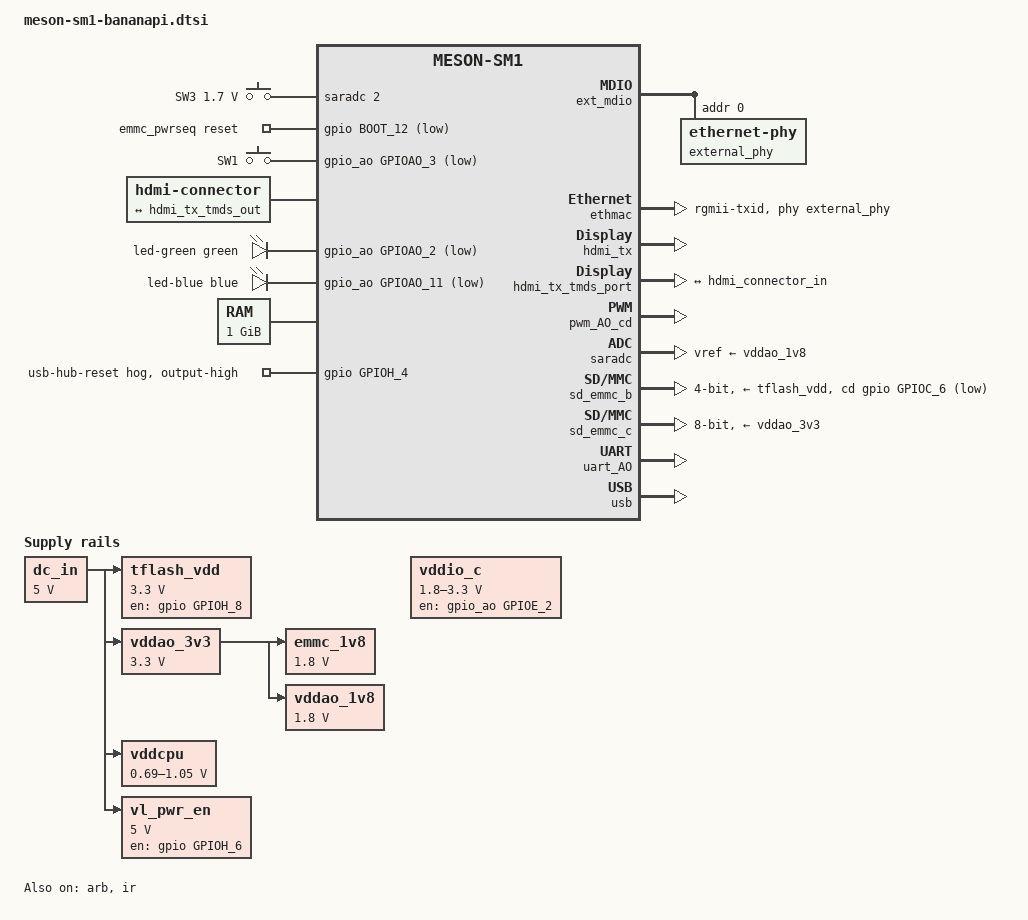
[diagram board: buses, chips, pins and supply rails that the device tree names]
// SPDX-License-Identifier: (GPL-2.0+ OR MIT)
/*
 * Copyright (c) 2021 BayLibre SAS
 * Author: Neil Armstrong <narmstrong@baylibre.com>
 */

#include "meson-sm1.dtsi"
#include <dt-bindings/leds/common.h>
#include <dt-bindings/input/linux-event-codes.h>
#include <dt-bindings/gpio/meson-g12a-gpio.h>

/ {
	adc-keys {
		compatible = "adc-keys";
		io-channels = <&saradc 2>;
		io-channel-names = "buttons";
		keyup-threshold-microvolt = <1800000>;

		button-sw3 {
			label = "SW3";
			linux,code = <BTN_3>;
			press-threshold-microvolt = <1700000>;
		};
	};

	aliases {
		serial0 = &uart_AO;
		ethernet0 = &ethmac;
	};

	chosen {
		stdout-path = "serial0:115200n8";
	};

	emmc_pwrseq: emmc-pwrseq {
		compatible = "mmc-pwrseq-emmc";
		reset-gpios = <&gpio BOOT_12 GPIO_ACTIVE_LOW>;
	};

	gpio-keys {
		compatible = "gpio-keys";

		key {
			label = "SW1";
			linux,code = <BTN_1>;
			gpios = <&gpio_ao GPIOAO_3 GPIO_ACTIVE_LOW>;
			interrupt-parent = <&gpio_intc>;
			interrupts = <3 IRQ_TYPE_EDGE_BOTH>;
		};
	};

	hdmi-connector {
		compatible = "hdmi-connector";
		type = "a";

		port {
			hdmi_connector_in: endpoint {
				remote-endpoint = <&hdmi_tx_tmds_out>;
			};
		};
	};

	leds {
		compatible = "gpio-leds";

		led-green {
			color = <LED_COLOR_ID_GREEN>;
			function = LED_FUNCTION_STATUS;
			gpios = <&gpio_ao GPIOAO_2 GPIO_ACTIVE_LOW>;
		};

		led-blue {
			color = <LED_COLOR_ID_BLUE>;
			function = LED_FUNCTION_STATUS;
			gpios = <&gpio_ao GPIOAO_11 GPIO_ACTIVE_LOW>;
			linux,default-trigger = "heartbeat";
		};
	};

	memory@0 {
		device_type = "memory";
		reg = <0x0 0x0 0x0 0x40000000>;
	};

	emmc_1v8: regulator-emmc_1v8 {
		compatible = "regulator-fixed";
		regulator-name = "EMMC_1V8";
		regulator-min-microvolt = <1800000>;
		regulator-max-microvolt = <1800000>;
		vin-supply = <&vddao_3v3>;
		regulator-always-on;
	};

	dc_in: regulator-dc_in {
		compatible = "regulator-fixed";
		regulator-name = "DC_IN";
		regulator-min-microvolt = <5000000>;
		regulator-max-microvolt = <5000000>;
		regulator-always-on;
	};

	vddio_c: regulator-vddio_c {
		compatible = "regulator-gpio";
		regulator-name = "VDDIO_C";
		regulator-min-microvolt = <1800000>;
		regulator-max-microvolt = <3300000>;

		enable-gpio = <&gpio_ao GPIOE_2 GPIO_OPEN_DRAIN>;
		enable-active-high;
		regulator-always-on;

		gpios = <&gpio_ao GPIOAO_6 GPIO_OPEN_DRAIN>;
		gpios-states = <1>;

		states = <1800000 0>,
			 <3300000 1>;
	};

	tflash_vdd: regulator-tflash_vdd {
		compatible = "regulator-fixed";
		regulator-name = "TFLASH_VDD";
		regulator-min-microvolt = <3300000>;
		regulator-max-microvolt = <3300000>;
		vin-supply = <&dc_in>;
		gpio = <&gpio GPIOH_8 GPIO_OPEN_DRAIN>;
		enable-active-high;
		regulator-always-on;
	};

	vddao_1v8: regulator-vddao_1v8 {
		compatible = "regulator-fixed";
		regulator-name = "VDDAO_1V8";
		regulator-min-microvolt = <1800000>;
		regulator-max-microvolt = <1800000>;
		vin-supply = <&vddao_3v3>;
		regulator-always-on;
	};

	vddao_3v3: regulator-vddao_3v3 {
		compatible = "regulator-fixed";
		regulator-name = "VDDAO_3V3";
		regulator-min-microvolt = <3300000>;
		regulator-max-microvolt = <3300000>;
		vin-supply = <&dc_in>;
		regulator-always-on;
	};

	vddcpu: regulator-vddcpu {
		/*
		 * SY8120B1ABC DC/DC Regulator.
		 */
		compatible = "pwm-regulator";

		regulator-name = "VDDCPU";
		regulator-min-microvolt = <690000>;
		regulator-max-microvolt = <1050000>;

		pwm-supply = <&dc_in>;

		pwms = <&pwm_AO_cd 1 1250 0>;
		pwm-dutycycle-range = <100 0>;

		regulator-boot-on;
		regulator-always-on;
	};

	/* USB Hub Power Enable */
	vl_pwr_en: regulator-vl_pwr_en {
		compatible = "regulator-fixed";
		regulator-name = "VL_PWR_EN";
		regulator-min-microvolt = <5000000>;
		regulator-max-microvolt = <5000000>;
		vin-supply = <&dc_in>;

		gpio = <&gpio GPIOH_6 GPIO_ACTIVE_HIGH>;
		enable-active-high;
	};
};

&arb {
	status = "okay";
};

&cpu0 {
	cpu-supply = <&vddcpu>;
	operating-points-v2 = <&cpu_opp_table>;
	clocks = <&clkc CLKID_CPU_CLK>;
	clock-latency = <50000>;
};

&cpu1 {
	cpu-supply = <&vddcpu>;
	operating-points-v2 = <&cpu_opp_table>;
	clocks = <&clkc CLKID_CPU1_CLK>;
	clock-latency = <50000>;
};

&cpu2 {
	cpu-supply = <&vddcpu>;
	operating-points-v2 = <&cpu_opp_table>;
	clocks = <&clkc CLKID_CPU2_CLK>;
	clock-latency = <50000>;
};

&cpu3 {
	cpu-supply = <&vddcpu>;
	operating-points-v2 = <&cpu_opp_table>;
	clocks = <&clkc CLKID_CPU3_CLK>;
	clock-latency = <50000>;
};

&ext_mdio {
	external_phy: ethernet-phy@0 {
		/* Realtek RTL8211F (0x001cc916) */
		reg = <0>;
		max-speed = <1000>;

		interrupt-parent = <&gpio_intc>;
		/* MAC_INTR on GPIOZ_14 */
		interrupts = <26 IRQ_TYPE_LEVEL_LOW>;
	};
};

&ethmac {
	pinctrl-0 = <&eth_pins>, <&eth_rgmii_pins>;
	pinctrl-names = "default";
	status = "okay";
	phy-mode = "rgmii-txid";
	phy-handle = <&external_phy>;
};

&gpio {
	gpio-line-names =
		/* GPIOZ */
		"ETH_MDIO", /* GPIOZ_0 */
		"ETH_MDC", /* GPIOZ_1 */
		"ETH_RXCLK", /* GPIOZ_2 */
		"ETH_RX_DV", /* GPIOZ_3 */
		"ETH_RXD0", /* GPIOZ_4 */
		"ETH_RXD1", /* GPIOZ_5 */
		"ETH_RXD2", /* GPIOZ_6 */
		"ETH_RXD3", /* GPIOZ_7 */
		"ETH_TXCLK", /* GPIOZ_8 */
		"ETH_TXEN", /* GPIOZ_9 */
		"ETH_TXD0", /* GPIOZ_10 */
		"ETH_TXD1", /* GPIOZ_11 */
		"ETH_TXD2", /* GPIOZ_12 */
		"ETH_TXD3", /* GPIOZ_13 */
		"ETH_INTR", /* GPIOZ_14 */
		"ETH_NRST", /* GPIOZ_15 */
		/* GPIOH */
		"HDMI_SDA", /* GPIOH_0 */
		"HDMI_SCL", /* GPIOH_1 */
		"HDMI_HPD", /* GPIOH_2 */
		"HDMI_CEC", /* GPIOH_3 */
		"VL-RST_N", /* GPIOH_4 */
		"CON1-P36", /* GPIOH_5 */
		"VL-PWREN", /* GPIOH_6 */
		"WiFi_3V3_1V8", /* GPIOH_7 */
		"TFLASH_VDD_EN", /* GPIOH_8 */
		/* BOOT */
		"eMMC_D0", /* BOOT_0 */
		"eMMC_D1", /* BOOT_1 */
		"eMMC_D2", /* BOOT_2 */
		"eMMC_D3", /* BOOT_3 */
		"eMMC_D4", /* BOOT_4 */
		"eMMC_D5", /* BOOT_5 */
		"eMMC_D6", /* BOOT_6 */
		"eMMC_D7", /* BOOT_7 */
		"eMMC_CLK", /* BOOT_8 */
		"",
		"eMMC_CMD", /* BOOT_10 */
		"",
		"eMMC_RST#", /* BOOT_12 */
		"eMMC_DS", /* BOOT_13 */
		"", "",
		/* GPIOC */
		"SD_D0_B", /* GPIOC_0 */
		"SD_D1_B", /* GPIOC_1 */
		"SD_D2_B", /* GPIOC_2 */
		"SD_D3_B", /* GPIOC_3 */
		"SD_CLK_B", /* GPIOC_4 */
		"SD_CMD_B", /* GPIOC_5 */
		"CARD_EN_DET", /* GPIOC_6 */
		"",
		/* GPIOA */
		"", "", "", "", "", "", "", "",
		"", "", "", "", "", "",
		"CON1-P27", /* GPIOA_14 */
		"CON1-P28", /* GPIOA_15 */
		/* GPIOX */
		"CON1-P16", /* GPIOX_0 */
		"CON1-P18", /* GPIOX_1 */
		"CON1-P22", /* GPIOX_2 */
		"CON1-P11", /* GPIOX_3 */
		"CON1-P13", /* GPIOX_4 */
		"CON1-P07", /* GPIOX_5 */
		"CON1-P33", /* GPIOX_6 */
		"CON1-P15", /* GPIOX_7 */
		"CON1-P19", /* GPIOX_8 */
		"CON1-P21", /* GPIOX_9 */
		"CON1-P24", /* GPIOX_10 */
		"CON1-P23", /* GPIOX_11 */
		"CON1-P08", /* GPIOX_12 */
		"CON1-P10", /* GPIOX_13 */
		"CON1-P29", /* GPIOX_14 */
		"CON1-P31", /* GPIOX_15 */
		"CON1-P26", /* GPIOX_16 */
		"CON1-P03", /* GPIOX_17 */
		"CON1-P05", /* GPIOX_18 */
		"CON1-P32"; /* GPIOX_19 */

	/*
	 * WARNING: The USB Hub needs a reset signal to be turned high in
	 * order to be detected by the USB Controller. This signal should
	 * be handled by a USB specific power sequence to reset the Hub
	 * when the USB bus is powered down.
	 */
	usb-hub {
		gpio-hog;
		gpios = <GPIOH_4 GPIO_ACTIVE_HIGH>;
		output-high;
		line-name = "usb-hub-reset";
	};
};

&gpio_ao {
	gpio-line-names =
		/* GPIOAO */
		"DEBUG TX", /* GPIOAO_0 */
		"DEBUG RX", /* GPIOAO_1 */
		"SYS_LED2", /* GPIOAO_2 */
		"UPDATE_KEY", /* GPIOAO_3 */
		"CON1-P40", /* GPIOAO_4 */
		"IR_IN", /* GPIOAO_5 */
		"TF_3V3N_1V8_EN", /* GPIOAO_6 */
		"CON1-P35", /* GPIOAO_7 */
		"CON1-P12", /* GPIOAO_8 */
		"CON1-P37", /* GPIOAO_9 */
		"CON1-P38", /* GPIOAO_10 */
		"SYS_LED", /* GPIOAO_11 */
		/* GPIOE */
		"VDDEE_PWM", /* GPIOE_0 */
		"VDDCPU_PWM", /* GPIOE_1 */
		"TF_PWR_EN"; /* GPIOE_2 */
};

&hdmi_tx {
	status = "okay";
	pinctrl-0 = <&hdmitx_hpd_pins>, <&hdmitx_ddc_pins>;
	pinctrl-names = "default";
	hdmi-supply = <&dc_in>;
};

&hdmi_tx_tmds_port {
	hdmi_tx_tmds_out: endpoint {
		remote-endpoint = <&hdmi_connector_in>;
	};
};

&ir {
	status = "okay";
	pinctrl-0 = <&remote_input_ao_pins>;
	pinctrl-names = "default";
};

&pwm_AO_cd {
	pinctrl-0 = <&pwm_ao_d_e_pins>;
	pinctrl-names = "default";
	clocks = <&xtal>;
	clock-names = "clkin1";
	status = "okay";
};

&saradc {
	status = "okay";
	vref-supply = <&vddao_1v8>;
};

/* SD card */
&sd_emmc_b {
	status = "okay";
	pinctrl-0 = <&sdcard_c_pins>;
	pinctrl-1 = <&sdcard_clk_gate_c_pins>;
	pinctrl-names = "default", "clk-gate";

	bus-width = <4>;
	cap-sd-highspeed;
	max-frequency = <50000000>;
	disable-wp;

	/* TOFIX: SD card is barely usable in SDR modes */

	cd-gpios = <&gpio GPIOC_6 GPIO_ACTIVE_LOW>;
	vmmc-supply = <&tflash_vdd>;
	vqmmc-supply = <&vddio_c>;
};

/* eMMC */
&sd_emmc_c {
	status = "okay";
	pinctrl-0 = <&emmc_ctrl_pins>, <&emmc_data_8b_pins>, <&emmc_ds_pins>;
	pinctrl-1 = <&emmc_clk_gate_pins>;
	pinctrl-names = "default", "clk-gate";

	bus-width = <8>;
	cap-mmc-highspeed;
	mmc-ddr-1_8v;
	mmc-hs200-1_8v;
	max-frequency = <200000000>;
	disable-wp;

	mmc-pwrseq = <&emmc_pwrseq>;
	vmmc-supply = <&vddao_3v3>;
	vqmmc-supply = <&emmc_1v8>;
};

&uart_AO {
	status = "okay";
	pinctrl-0 = <&uart_ao_a_pins>;
	pinctrl-names = "default";
};

&usb {
	status = "okay";
};

&usb2_phy0 {
	phy-supply = <&dc_in>;
};

&usb2_phy1 {
	/* Enable the hub which is connected to this port */
	phy-supply = <&vl_pwr_en>;
};
